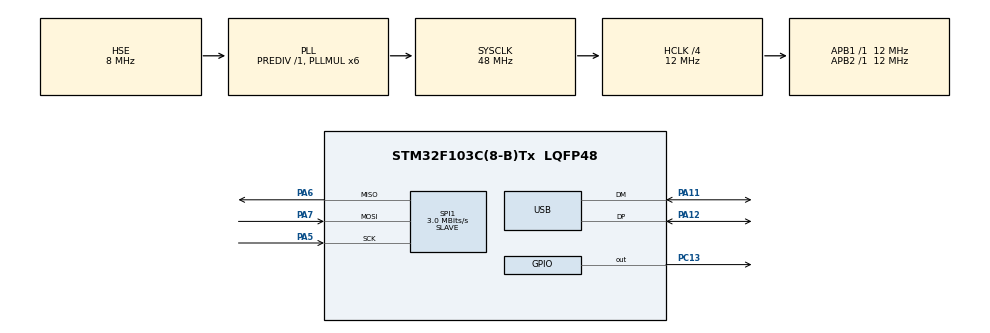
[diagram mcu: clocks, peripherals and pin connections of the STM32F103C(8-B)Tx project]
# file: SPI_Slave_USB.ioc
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Mcu.Family=STM32F1
Mcu.Name=STM32F103C(8-B)Tx
Mcu.Package=LQFP48
NVIC.PriorityGroup=NVIC_PRIORITYGROUP_4
NVIC.SPI1_IRQn=true\:0\:0\:false\:false\:true\:true
NVIC.USB_LP_CAN1_RX0_IRQn=true\:0\:0\:false\:false\:true\:false
PA11.Mode=Device
PA11.Signal=USB_DM
PA12.Mode=Device
PA12.Signal=USB_DP
PA13.Mode=JTAG_4_pins
PA13.Signal=SYS_JTMS-SWDIO
PA14.Mode=JTAG_4_pins
PA14.Signal=SYS_JTCK-SWCLK
PA15.Mode=JTAG_4_pins
PA15.Signal=SYS_JTDI
PA5.Mode=Full_Duplex_Slave
PA5.Signal=SPI1_SCK
PA6.Mode=Full_Duplex_Slave
PA6.Signal=SPI1_MISO
PA7.Mode=Full_Duplex_Slave
PA7.Signal=SPI1_MOSI
PB3.Mode=JTAG_4_pins
PB3.Signal=SYS_JTDO-TRACESWO
PC13-TAMPER-RTC.Signal=GPIO_Output
PD0-OSC_IN.Mode=HSE-External-Oscillator
PD0-OSC_IN.Signal=RCC_OSC_IN
PD1-OSC_OUT.Mode=HSE-External-Oscillator
PD1-OSC_OUT.Signal=RCC_OSC_OUT
ProjectManager.HeapSize=0x200
ProjectManager.StackSize=0x400
ProjectManager.TargetToolchain=SW4STM32
RCC.AHBCLKDivider=RCC_SYSCLK_DIV4
RCC.AHBFreq_Value=12000000
RCC.APB1Freq_Value=12000000
RCC.APB1TimFreq_Value=12000000
RCC.APB2Freq_Value=12000000
RCC.APB2TimFreq_Value=12000000
RCC.HCLKFreq_Value=12000000
RCC.PLLMUL=RCC_PLL_MUL6
RCC.SYSCLKFreq_VALUE=48000000
RCC.SYSCLKSource=RCC_SYSCLKSOURCE_PLLCLK
RCC.USBFreq_Value=48000000
SPI1.BaudRatePrescaler=SPI_BAUDRATEPRESCALER_4
SPI1.CalculateBaudRate=3.0 MBits/s
SPI1.Direction=SPI_DIRECTION_2LINES
SPI1.Mode=SPI_MODE_SLAVE
SPI1.VirtualType=VM_SLAVE
USB_DEVICE.CLASS_NAME_FS=CDC
USB_DEVICE.VirtualMode=Cdc
USB_DEVICE.VirtualModeFS=Cdc_FS
VP_USB_DEVICE_VS_USB_DEVICE_CDC_FS.Mode=CDC_FS
board=SPI_Slave_USB

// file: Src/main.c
/**
  ******************************************************************************
  * @file           : main.c
  * @brief          : Main program body
  ******************************************************************************
  * This notice applies to any and all portions of this file
  * that are not between comment pairs USER CODE BEGIN and
  * USER CODE END. Other portions of this file, whether
  * inserted by the user or by software development tools
  * are owned by their respective copyright owners.
  *
  * Copyright (c) 2018 STMicroelectronics International N.V.
  * All rights reserved.
  *
  * Redistribution and use in source and binary forms, with or without
  * modification, are permitted, provided that the following conditions are met:
  *
  * 1. Redistribution of source code must retain the above copyright notice,
  *    this list of conditions and the following disclaimer.
  * 2. Redistributions in binary form must reproduce the above copyright notice,
  *    this list of conditions and the following disclaimer in the documentation
  *    and/or other materials provided with the distribution.
  * 3. Neither the name of STMicroelectronics nor the names of other
  *    contributors to this software may be used to endorse or promote products
  *    derived from this software without specific written permission.
  * 4. This software, including modifications and/or derivative works of this
  *    software, must execute solely and exclusively on microcontroller or
  *    microprocessor devices manufactured by or for STMicroelectronics.
  * 5. Redistribution and use of this software other than as permitted under
  *    this license is void and will automatically terminate your rights under
  *    this license.
  *
  * THIS SOFTWARE IS PROVIDED BY STMICROELECTRONICS AND CONTRIBUTORS "AS IS"
  * AND ANY EXPRESS, IMPLIED OR STATUTORY WARRANTIES, INCLUDING, BUT NOT
  * LIMITED TO, THE IMPLIED WARRANTIES OF MERCHANTABILITY, FITNESS FOR A
  * PARTICULAR PURPOSE AND NON-INFRINGEMENT OF THIRD PARTY INTELLECTUAL PROPERTY
  * RIGHTS ARE DISCLAIMED TO THE FULLEST EXTENT PERMITTED BY LAW. IN NO EVENT
  * SHALL STMICROELECTRONICS OR CONTRIBUTORS BE LIABLE FOR ANY DIRECT, INDIRECT,
  * INCIDENTAL, SPECIAL, EXEMPLARY, OR CONSEQUENTIAL DAMAGES (INCLUDING, BUT NOT
  * LIMITED TO, PROCUREMENT OF SUBSTITUTE GOODS OR SERVICES; LOSS OF USE, DATA,
  * OR PROFITS; OR BUSINESS INTERRUPTION) HOWEVER CAUSED AND ON ANY THEORY OF
  * LIABILITY, WHETHER IN CONTRACT, STRICT LIABILITY, OR TORT (INCLUDING
  * NEGLIGENCE OR OTHERWISE) ARISING IN ANY WAY OUT OF THE USE OF THIS SOFTWARE,
  * EVEN IF ADVISED OF THE POSSIBILITY OF SUCH DAMAGE.
  *
  ******************************************************************************
  */
#include "main.h"
#include "stm32f1xx_hal.h"
#include "usb_device.h"

SPI_HandleTypeDef hspi1;

/* USER CODE BEGIN PV */
/* Private variables ---------------------------------------------------------*/
int i;
//CanRxMsgTypeDef retrans_buf;
uint8_t data_tranc[8]={33,80,80,33,33,33,33,33};
uint8_t* p_data[8];
uint8_t data_rec[8];
char str_tx[128];
int str_tx_len, i=1;
/* USER CODE END PV */

void SystemClock_Config(void);
static void MX_GPIO_Init(void);
static void MX_SPI1_Init(void);

/* USER CODE BEGIN PFP */
/* Private function prototypes -----------------------------------------------*/

/* USER CODE END PFP */

int main(void)
{

  /* MCU Configuration----------------------------------------------------------*/

  /* Reset of all peripherals, Initializes the Flash interface and the Systick. */
  HAL_Init();

  /* Configure the system clock */
  SystemClock_Config();

  /* Initialize all configured peripherals */
  MX_GPIO_Init();
  MX_SPI1_Init();
  MX_USB_DEVICE_Init();
  /* USER CODE BEGIN 2 */
  HAL_SPI_Receive_IT(&hspi1,data_rec,8);

  /* USER CODE END 2 */

  /* Infinite loop */
  /* USER CODE BEGIN WHILE */
  while (1)
  {
	  if (hspi1.State != HAL_SPI_STATE_BUSY_RX) {
		  HAL_SPI_Receive_IT(&hspi1,data_rec,8);
	  }
  /* USER CODE END WHILE */

  /* USER CODE BEGIN 3 */
//	  HAL_SPI_Receive_IT(&hspi1,data_rec,8);
/*	  str_tx_len=sprintf((char*)str_tx," While %d ",hspi1.State,"\r");
	  CDC_Transmit_FS((char*)str_tx, str_tx_len);
*/

/*	  HAL_SPI_Receive(&hspi1,data_rec,8,1000);
	  str_tx_len=sprintf((char*)str_tx,"%d %d %d %d %d %d %d %d %s",data_rec[0],data_rec[1],data_rec[2],data_rec[3],data_rec[4],data_rec[5],data_rec[6],data_rec[7],"\r");
	  CDC_Transmit_FS((char*)str_tx, str_tx_len);
	  */

//	  HAL_SPI_Receive(&hspi1,data_rec,11,100);

//	  HAL_SPI_Receive_IT(&hspi1,data_rec,8);

//  HAL_Delay(10);

  }
  /* USER CODE END 3 */

}

void SystemClock_Config(void)
{

  RCC_OscInitTypeDef RCC_OscInitStruct;
  RCC_ClkInitTypeDef RCC_ClkInitStruct;
  RCC_PeriphCLKInitTypeDef PeriphClkInit;

    /**Initializes the CPU, AHB and APB busses clocks
    */
  RCC_OscInitStruct.OscillatorType = RCC_OSCILLATORTYPE_HSE;
  RCC_OscInitStruct.HSEState = RCC_HSE_ON;
  RCC_OscInitStruct.HSEPredivValue = RCC_HSE_PREDIV_DIV1;
  RCC_OscInitStruct.HSIState = RCC_HSI_ON;
  RCC_OscInitStruct.PLL.PLLState = RCC_PLL_ON;
  RCC_OscInitStruct.PLL.PLLSource = RCC_PLLSOURCE_HSE;
  RCC_OscInitStruct.PLL.PLLMUL = RCC_PLL_MUL6;
  if (HAL_RCC_OscConfig(&RCC_OscInitStruct) != HAL_OK)
  {
    _Error_Handler(__FILE__, __LINE__);
  }

    /**Initializes the CPU, AHB and APB busses clocks
    */
  RCC_ClkInitStruct.ClockType = RCC_CLOCKTYPE_HCLK|RCC_CLOCKTYPE_SYSCLK
                              |RCC_CLOCKTYPE_PCLK1|RCC_CLOCKTYPE_PCLK2;
  RCC_ClkInitStruct.SYSCLKSource = RCC_SYSCLKSOURCE_PLLCLK;
  RCC_ClkInitStruct.AHBCLKDivider = RCC_SYSCLK_DIV4;
  RCC_ClkInitStruct.APB1CLKDivider = RCC_HCLK_DIV1;
  RCC_ClkInitStruct.APB2CLKDivider = RCC_HCLK_DIV1;

  if (HAL_RCC_ClockConfig(&RCC_ClkInitStruct, FLASH_LATENCY_1) != HAL_OK)
  {
    _Error_Handler(__FILE__, __LINE__);
  }

  PeriphClkInit.PeriphClockSelection = RCC_PERIPHCLK_USB;
  PeriphClkInit.UsbClockSelection = RCC_USBCLKSOURCE_PLL;
  if (HAL_RCCEx_PeriphCLKConfig(&PeriphClkInit) != HAL_OK)
  {
    _Error_Handler(__FILE__, __LINE__);
  }

    /**Configure the Systick interrupt time
    */
  HAL_SYSTICK_Config(HAL_RCC_GetHCLKFreq()/1000);

    /**Configure the Systick
    */
  HAL_SYSTICK_CLKSourceConfig(SYSTICK_CLKSOURCE_HCLK);

  /* SysTick_IRQn interrupt configuration */
  HAL_NVIC_SetPriority(SysTick_IRQn, 0, 0);
}

/* SPI1 init function */
static void MX_SPI1_Init(void)
{

  /* SPI1 parameter configuration*/
  hspi1.Instance = SPI1;
  hspi1.Init.Mode = SPI_MODE_SLAVE;
  hspi1.Init.Direction = SPI_DIRECTION_2LINES;
  hspi1.Init.DataSize = SPI_DATASIZE_8BIT;
  hspi1.Init.CLKPolarity = SPI_POLARITY_LOW;
  hspi1.Init.CLKPhase = SPI_PHASE_1EDGE;
  hspi1.Init.NSS = SPI_NSS_SOFT;
  hspi1.Init.BaudRatePrescaler = SPI_BAUDRATEPRESCALER_4;
  hspi1.Init.FirstBit = SPI_FIRSTBIT_MSB;
  hspi1.Init.TIMode = SPI_TIMODE_DISABLE;
  hspi1.Init.CRCCalculation = SPI_CRCCALCULATION_DISABLE;
  hspi1.Init.CRCPolynomial = 10;
  if (HAL_SPI_Init(&hspi1) != HAL_OK)
  {
    _Error_Handler(__FILE__, __LINE__);
  }

}

/** Configure pins as
        * Analog
        * Input
        * Output
        * EVENT_OUT
        * EXTI
*/
static void MX_GPIO_Init(void)
{

  GPIO_InitTypeDef GPIO_InitStruct;

  /* GPIO Ports Clock Enable */
  __HAL_RCC_GPIOC_CLK_ENABLE();
  __HAL_RCC_GPIOD_CLK_ENABLE();
  __HAL_RCC_GPIOA_CLK_ENABLE();
  __HAL_RCC_GPIOB_CLK_ENABLE();

  /*Configure GPIO pin Output Level */
  HAL_GPIO_WritePin(GPIOC, GPIO_PIN_13, GPIO_PIN_RESET);

  /*Configure GPIO pin : PC13 */
  GPIO_InitStruct.Pin = GPIO_PIN_13;
  GPIO_InitStruct.Mode = GPIO_MODE_OUTPUT_PP;
  GPIO_InitStruct.Speed = GPIO_SPEED_FREQ_LOW;
  HAL_GPIO_Init(GPIOC, &GPIO_InitStruct);

}

/* USER CODE BEGIN 4 */

void HAL_SPI_RxCpltCallback(SPI_HandleTypeDef *hspi){
//	uint8_t data_rec[8];

	HAL_GPIO_TogglePin(GPIOC, GPIO_PIN_13);

	str_tx_len=sprintf((char*)str_tx,"%d %d %d %d %d %d %d %d %s",data_rec[0],data_rec[1],data_rec[2],data_rec[3],data_rec[4],data_rec[5],data_rec[6],data_rec[7],"\r");
	CDC_Transmit_FS((char*)str_tx, str_tx_len);

	str_tx_len=sprintf((char*)str_tx," Interr %d ",hspi1.State,"\r");
	CDC_Transmit_FS((char*)str_tx, str_tx_len);

	HAL_SPI_Receive_IT(&hspi1,data_rec,8);

}

/* USER CODE END 4 */

void _Error_Handler(char *file, int line)
{
  while(1)
  {
  }
}

/************************ (C) COPYRIGHT STMicroelectronics *****END OF FILE****/
